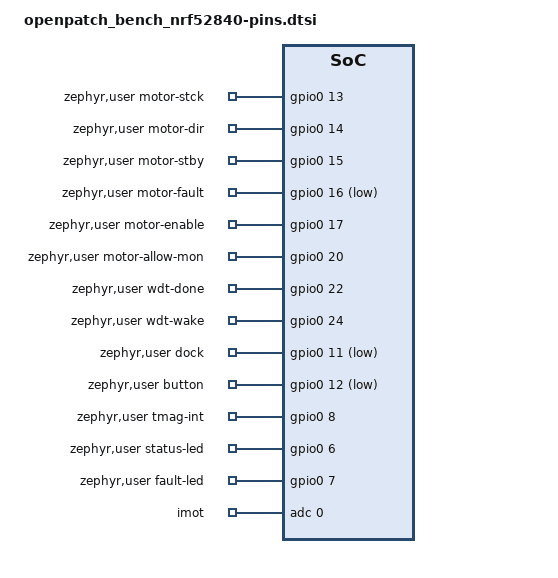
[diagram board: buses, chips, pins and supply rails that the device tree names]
/*
 * SPDX-License-Identifier: Apache-2.0
 *
 * OpenPatch bench controller: ALL pin assignments in one place (pinctrl + /zephyr,user GPIOs).
 * Source of truth: electronics/bench/pin-assignment.md.
 *
 * *** PLACEHOLDER PINS ***  Every pin below is a free-choice placeholder on a valid nRF52840
 * pad until electronics/bench/pin-assignment.md exists. They are NOT the board's real routing.
 * Do not connect hardware on the strength of this file. When the real table lands, edit only
 * this file and delete the `openpatch,placeholder-pins` property in /zephyr,user below; the
 * firmware prints a loud warning at every boot while the property is present.
 *
 * Avoided on purpose: P0.00/P0.01 (crystal pads on bare chips), P0.09/P0.10 (NFC pins),
 * P0.18 (nRESET, only if the board wires it).
 */

&pinctrl {
	/* PLACEHOLDER: TMAG5273 on I2C (optional part) */
	i2c0_default: i2c0_default {
		group1 {
			psels = <NRF_PSEL(TWIM_SDA, 0, 26)>,
				<NRF_PSEL(TWIM_SCL, 0, 27)>;
		};
	};

	i2c0_sleep: i2c0_sleep {
		group1 {
			psels = <NRF_PSEL(TWIM_SDA, 0, 26)>,
				<NRF_PSEL(TWIM_SCL, 0, 27)>;
			low-power-enable;
		};
	};

	/* PLACEHOLDER: buzzer drive (BUZ_PWM) */
	pwm0_default: pwm0_default {
		group1 {
			psels = <NRF_PSEL(PWM_OUT0, 0, 23)>;
		};
	};

	pwm0_sleep: pwm0_sleep {
		group1 {
			psels = <NRF_PSEL(PWM_OUT0, 0, 23)>;
			low-power-enable;
		};
	};

	/* PLACEHOLDER: HALL_A / HALL_B (2x DRV5032 in the pod, via FFC) -> QDEC */
	qdec_default: qdec_default {
		group1 {
			psels = <NRF_PSEL(QDEC_A, 1, 1)>,
				<NRF_PSEL(QDEC_B, 1, 2)>;
		};
	};

	qdec_sleep: qdec_sleep {
		group1 {
			psels = <NRF_PSEL(QDEC_A, 1, 1)>,
				<NRF_PSEL(QDEC_B, 1, 2)>;
			low-power-enable;
		};
	};
};

/ {
	zephyr,user {
		/* Remove this property when electronics/bench/pin-assignment.md has been applied. */
		openpatch,placeholder-pins;

		/* ---- STSPIN220 motor driver (full-step in firmware) ---- */
		motor-stck-gpios = <&gpio0 13 GPIO_ACTIVE_HIGH>;  /* PLACEHOLDER STEP / MODE3 */
		motor-dir-gpios = <&gpio0 14 GPIO_ACTIVE_HIGH>;   /* PLACEHOLDER DIR / MODE4 */
		/* STBY/RESET: high = driver active, pull-down on the board = fail-safe */
		motor-stby-gpios = <&gpio0 15 GPIO_ACTIVE_HIGH>;  /* PLACEHOLDER */
		/* EN/FAULT is open drain with a pull-up at the driver: read only */
		motor-fault-gpios = <&gpio0 16 (GPIO_ACTIVE_LOW | GPIO_PULL_UP)>; /* PLACEHOLDER */
		/* MODE1/MODE2 are strapped on the bench board (not driven by the MCU): no motor-mode*-gpios */

		/* ---- hardware interlock: VMOT = MCU enable AND TPL5010 latch AND DOCKED ---- */
		motor-enable-gpios = <&gpio0 17 GPIO_ACTIVE_HIGH>;   /* PLACEHOLDER MCU motor-enable */
		motor-allow-mon-gpios = <&gpio0 20 GPIO_ACTIVE_HIGH>; /* PLACEHOLDER read-back: motor supply allowed */

		/* ---- TPL5010 external watchdog ---- */
		wdt-done-gpios = <&gpio0 22 GPIO_ACTIVE_HIGH>;  /* PLACEHOLDER DONE: CPU-served only */
		wdt-wake-gpios = <&gpio0 24 GPIO_ACTIVE_HIGH>;  /* PLACEHOLDER WAKE pulse -> interrupt */

		/* ---- inputs from the pod / operator ---- */
		/* DOCKED: dock hall switch in the pod, via the FFC; asserted (low) = docked */
		dock-gpios = <&gpio0 11 (GPIO_PULL_UP | GPIO_ACTIVE_LOW)>;   /* PLACEHOLDER */
		button-gpios = <&gpio0 12 (GPIO_PULL_UP | GPIO_ACTIVE_LOW)>; /* PLACEHOLDER BTN_N */
		tmag-int-gpios = <&gpio0 8 GPIO_ACTIVE_HIGH>;                /* PLACEHOLDER optional TMAG5273 INT */

		/* ---- status LEDs ---- */
		status-led-gpios = <&gpio0 6 GPIO_ACTIVE_HIGH>;  /* PLACEHOLDER: on = active+docked, blinks = bench run */
		fault-led-gpios = <&gpio0 7 GPIO_ACTIVE_HIGH>;   /* PLACEHOLDER: on = latched fault */

		/* ---- SAADC: motor current sense (voltage across the STSPIN220 sense resistor(s)) ---- */
		io-channels = <&adc 0>;                          /* PLACEHOLDER AIN0 = P0.02 */
		io-channel-names = "imot";
	};
};
